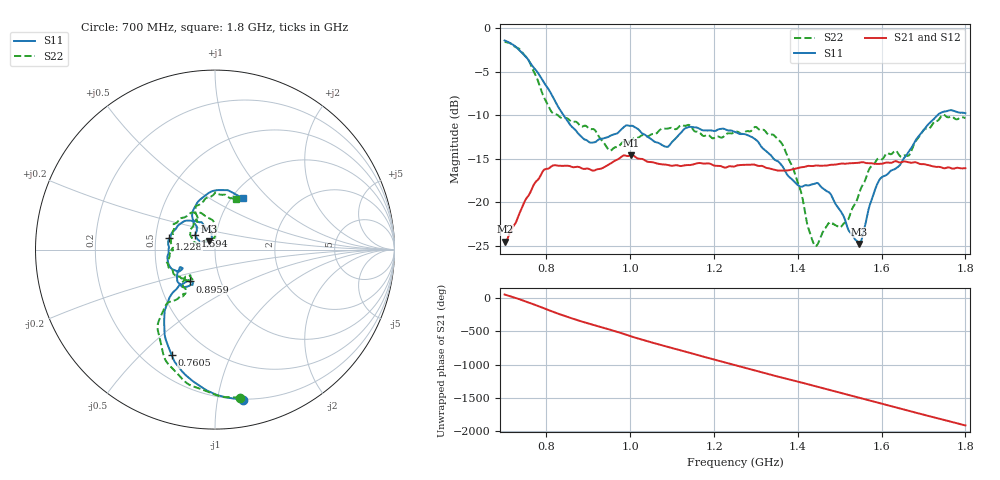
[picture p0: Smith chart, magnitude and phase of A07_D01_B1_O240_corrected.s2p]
! Created with skrf 1.9.0 (http://scikit-rf.org).
# Hz S RI R 50.0
!freq ReS11 ImS11 ReS21 ImS21 ReS12 ImS12 ReS22 ImS22
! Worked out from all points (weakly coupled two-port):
!   1601 points, 700 MHz to 1.8 GHz, reference 50 ohm
!   highest |S21| = -14.59 dB at 1.002 GHz (marker M1); lowest = -24.5 dB at 700.7 MHz (marker M2)
!   lowest |S11| = -24.8 dB at 1.547 GHz (marker M3), VSWR 1.12, Z = 46.4 + j4.26 ohm
!   |S11| at or under -10 dB: 840.7 MHz to 1.733 GHz (892.4 MHz wide, 69.3 % of centre)
!   |S22| runs from -25.0 to -1.6 dB; largest |S21 - S12| = 0.0038
!   S11 on the Smith chart (normalised r, x): 700 MHz: 0.20, -1.19; 760.5 MHz: 0.32, -0.62; 895.9 MHz: 0.71, -0.27; 1.228 GHz: 0.59, +0.08; 1.594 GHz: 0.79, +0.13; 1.8 GHz: 1.12, +0.72
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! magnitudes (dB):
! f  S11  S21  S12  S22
! 700 MHz  -1.4  -24.5  -24.3  -1.6
! 700.7 MHz  -1.4  -24.5  -24.2  -1.6
! 760.5 MHz  -3.9  -18.9  -18.8  -4.0
! 812.8 MHz  -7.7  -15.8  -15.8  -9.7
! 883.6 MHz  -12.5  -16.1  -16.0  -11.3
! 895.9 MHz  -12.9  -16.1  -16.2  -11.3
! 950.9 MHz  -12.4  -15.6  -15.6  -14.1
! 1.002 GHz  -11.2  -14.6  -14.7  -12.9
! 1.067 GHz  -13.2  -15.6  -15.5  -11.9
! 1.228 GHz  -11.6  -16.0  -15.9  -12.2
! 1.25 GHz  -11.9  -15.9  -15.8  -11.9
! 1.361 GHz  -15.7  -16.4  -16.4  -13.2
! 1.405 GHz  -18.2  -16.0  -16.0  -18.4
! 1.434 GHz  -17.9  -15.8  -15.8  -24.2
! 1.476 GHz  -18.9  -15.7  -15.7  -22.3
! 1.515 GHz  -22.3  -15.6  -15.6  -22.3
! 1.547 GHz  -24.8  -15.5  -15.4  -18.9
! 1.594 GHz  -17.5  -15.6  -15.6  -15.0
! 1.617 GHz  -16.6  -15.5  -15.4  -14.4
! 1.664 GHz  -14.2  -15.4  -15.4  -14.6
! 1.737 GHz  -9.8  -15.9  -16.0  -10.5
! 1.8 GHz  -9.8  -16.1  -16.1  -10.3
